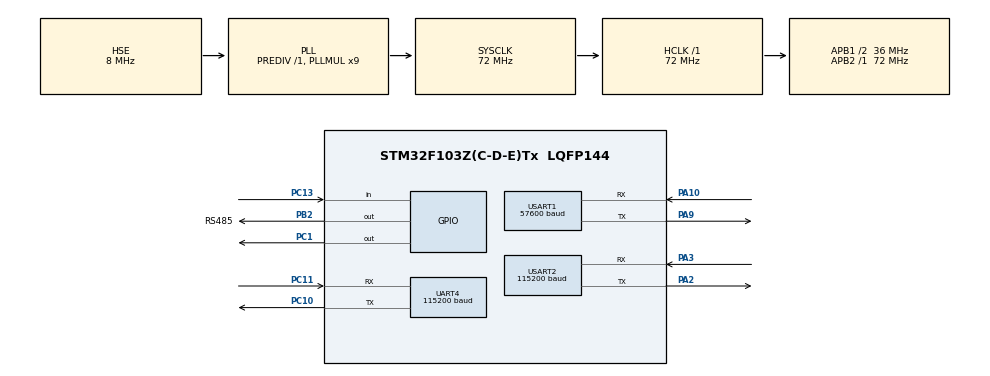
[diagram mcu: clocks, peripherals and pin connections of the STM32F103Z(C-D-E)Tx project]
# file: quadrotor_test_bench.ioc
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Dma.Request0=USART1_RX
Dma.Request1=USART1_TX
Dma.Request2=UART4_RX
Dma.Request3=UART4_TX
Dma.Request4=USART2_RX
Dma.Request5=USART2_TX
Dma.UART4_RX.2.Direction=DMA_PERIPH_TO_MEMORY
Dma.UART4_RX.2.Instance=DMA2_Channel3
Dma.UART4_RX.2.MemDataAlignment=DMA_MDATAALIGN_BYTE
Dma.UART4_RX.2.MemInc=DMA_MINC_ENABLE
Dma.UART4_RX.2.Mode=DMA_NORMAL
Dma.UART4_RX.2.PeriphDataAlignment=DMA_PDATAALIGN_BYTE
Dma.UART4_RX.2.PeriphInc=DMA_PINC_DISABLE
Dma.UART4_RX.2.Priority=DMA_PRIORITY_LOW
Dma.UART4_TX.3.Direction=DMA_MEMORY_TO_PERIPH
Dma.UART4_TX.3.Instance=DMA2_Channel5
Dma.UART4_TX.3.MemDataAlignment=DMA_MDATAALIGN_BYTE
Dma.UART4_TX.3.MemInc=DMA_MINC_ENABLE
Dma.UART4_TX.3.Mode=DMA_NORMAL
Dma.UART4_TX.3.PeriphDataAlignment=DMA_PDATAALIGN_BYTE
Dma.UART4_TX.3.PeriphInc=DMA_PINC_DISABLE
Dma.UART4_TX.3.Priority=DMA_PRIORITY_LOW
Dma.USART1_RX.0.Direction=DMA_PERIPH_TO_MEMORY
Dma.USART1_RX.0.Instance=DMA1_Channel5
Dma.USART1_RX.0.MemDataAlignment=DMA_MDATAALIGN_BYTE
Dma.USART1_RX.0.MemInc=DMA_MINC_ENABLE
Dma.USART1_RX.0.Mode=DMA_NORMAL
Dma.USART1_RX.0.PeriphDataAlignment=DMA_PDATAALIGN_BYTE
Dma.USART1_RX.0.PeriphInc=DMA_PINC_DISABLE
Dma.USART1_RX.0.Priority=DMA_PRIORITY_LOW
Dma.USART1_TX.1.Direction=DMA_MEMORY_TO_PERIPH
Dma.USART1_TX.1.Instance=DMA1_Channel4
Dma.USART1_TX.1.MemDataAlignment=DMA_MDATAALIGN_BYTE
Dma.USART1_TX.1.MemInc=DMA_MINC_ENABLE
Dma.USART1_TX.1.Mode=DMA_NORMAL
Dma.USART1_TX.1.PeriphDataAlignment=DMA_PDATAALIGN_BYTE
Dma.USART1_TX.1.PeriphInc=DMA_PINC_DISABLE
Dma.USART1_TX.1.Priority=DMA_PRIORITY_LOW
Dma.USART2_RX.4.Direction=DMA_PERIPH_TO_MEMORY
Dma.USART2_RX.4.Instance=DMA1_Channel6
Dma.USART2_RX.4.MemDataAlignment=DMA_MDATAALIGN_BYTE
Dma.USART2_RX.4.MemInc=DMA_MINC_ENABLE
Dma.USART2_RX.4.Mode=DMA_NORMAL
Dma.USART2_RX.4.PeriphDataAlignment=DMA_PDATAALIGN_BYTE
Dma.USART2_RX.4.PeriphInc=DMA_PINC_DISABLE
Dma.USART2_RX.4.Priority=DMA_PRIORITY_LOW
Dma.USART2_TX.5.Direction=DMA_MEMORY_TO_PERIPH
Dma.USART2_TX.5.Instance=DMA1_Channel7
Dma.USART2_TX.5.MemDataAlignment=DMA_MDATAALIGN_BYTE
Dma.USART2_TX.5.MemInc=DMA_MINC_ENABLE
Dma.USART2_TX.5.Mode=DMA_NORMAL
Dma.USART2_TX.5.PeriphDataAlignment=DMA_PDATAALIGN_BYTE
Dma.USART2_TX.5.PeriphInc=DMA_PINC_DISABLE
Dma.USART2_TX.5.Priority=DMA_PRIORITY_LOW
Mcu.Family=STM32F1
Mcu.Name=STM32F103Z(C-D-E)Tx
Mcu.Package=LQFP144
NVIC.DMA1_Channel4_IRQn=true\:0\:0\:false\:false\:true\:false\:true\:true
NVIC.DMA1_Channel5_IRQn=true\:0\:0\:false\:false\:true\:false\:true\:true
NVIC.DMA1_Channel6_IRQn=true\:0\:0\:false\:false\:true\:false\:true\:true
NVIC.DMA1_Channel7_IRQn=true\:0\:0\:false\:false\:true\:false\:true\:true
NVIC.DMA2_Channel3_IRQn=true\:0\:0\:false\:false\:true\:false\:true\:true
NVIC.DMA2_Channel4_5_IRQn=true\:0\:0\:false\:false\:true\:false\:true\:true
NVIC.PriorityGroup=NVIC_PRIORITYGROUP_4
NVIC.USART1_IRQn=true\:0\:0\:false\:false\:true\:true\:true\:true
NVIC.USART2_IRQn=true\:0\:0\:false\:false\:true\:true\:true\:true
OSC_IN.Mode=HSE-External-Oscillator
OSC_IN.Signal=RCC_OSC_IN
OSC_OUT.Mode=HSE-External-Oscillator
OSC_OUT.Signal=RCC_OSC_OUT
PA10.Mode=Asynchronous
PA10.Signal=USART1_RX
PA13.Mode=Serial_Wire
PA13.Signal=SYS_JTMS-SWDIO
PA14.Mode=Serial_Wire
PA14.Signal=SYS_JTCK-SWCLK
PA2.Mode=Asynchronous
PA2.Signal=USART2_TX
PA3.Mode=Asynchronous
PA3.Signal=USART2_RX
PA9.Mode=Asynchronous
PA9.Signal=USART1_TX
PB2.GPIO_Label=RS485
PB2.Signal=GPIO_Output
PC1.Signal=GPIO_Output
PC10.Mode=Asynchronous
PC10.Signal=UART4_TX
PC11.Mode=Asynchronous
PC11.Signal=UART4_RX
PC13-TAMPER-RTC.Signal=GPIO_Input
ProjectManager.HeapSize=0x200
ProjectManager.StackSize=0x400
ProjectManager.TargetToolchain=MDK-ARM V5.32
RCC.AHBFreq_Value=72000000
RCC.APB1CLKDivider=RCC_HCLK_DIV2
RCC.APB1Freq_Value=36000000
RCC.APB1TimFreq_Value=72000000
RCC.APB2Freq_Value=72000000
RCC.APB2TimFreq_Value=72000000
RCC.HCLKFreq_Value=72000000
RCC.PLLMUL=RCC_PLL_MUL9
RCC.PLLSourceVirtual=RCC_PLLSOURCE_HSE
RCC.SYSCLKFreq_VALUE=72000000
RCC.SYSCLKSource=RCC_SYSCLKSOURCE_PLLCLK
RCC.USBFreq_Value=72000000
UART4.BaudRate=115200
UART4.VirtualMode=Asynchronous
USART1.BaudRate=57600
USART1.VirtualMode=VM_ASYNC
USART2.BaudRate=115200
USART2.VirtualMode=VM_ASYNC
board=custom

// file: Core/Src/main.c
/* USER CODE BEGIN Header */
/**
  ******************************************************************************
  * @file           : main.c
  * @brief          : Main program body
  ******************************************************************************
  * @attention
  *
  * Copyright (c) 2025 STMicroelectronics.
  * All rights reserved.
  *
  * This software is licensed under terms that can be found in the LICENSE file
  * in the root directory of this software component.
  * If no LICENSE file comes with this software, it is provided AS-IS.
  *
  ******************************************************************************
  */
/* USER CODE END Header */
#include "main.h"
#include "dma.h"
#include "usart.h"
#include "gpio.h"

/* USER CODE BEGIN Includes */
#include <stdio.h>
#include "MotorState.h"
#include "FTSerialConfig.h"
#include "HMIProtocol.h" // 上位机顶层发送库
#include "HMISerial.h"	 // 上位机底层串口库
#include <string.h>
#include "motor_data_converter.h" // 上位机与舵机数据转换函数库
#include "HMICommandProtocol.h" // 上位机接收解析库
#include "MotorControl.h"    // 上位机控制指令转换库
#include "SMS_STS.h"     // 飞特舵机顶层库
#include "SCS.h"         // 提供 Ping() 舵机在线检测函数
#include "stm32f1xx_hal_uart.h"   // deinit串口函数

#include "EncoderSimple.h"
#include "ForceSensor.h"
/* USER CODE END Includes */

/* USER CODE BEGIN PTD */
typedef enum
{
    APP_MODE_NONE = 0,    // 尚未检测到设备
    APP_MODE_SERVO,       // 舵机模式
    APP_MODE_ENCODER,     // 编码器模式
    APP_MODE_FORCE        // 力传感器模式
} App_Mode_t;
/* USER CODE END PTD */

/* USER CODE BEGIN PD */
/* 等待舵机、编码器等外部设备完成上电 */
#define APP_POWER_ON_DELAY_MS      1000U

/* 每次自动检测最多尝试4轮 */
#define APP_DETECT_RETRY_COUNT     4U

/* 一轮检测失败后，等待500 ms再检测 */
#define APP_DETECT_INTERVAL_MS     500U

/* 编码器探测响应超时时间 */
#define ENCODER_PROBE_TIMEOUT_MS   30U

/* 力传感器读取周期 */
#define FORCE_POLL_PERIOD_MS       100U
/*
 * 原始值与实际显示值的比例。
 * 暂时设为1，之后根据仪表小数点修改。
 */
#define FORCE_DECIMAL_DIVISOR      1.0f

/* USER CODE END PD */

/* USER CODE BEGIN PV */

/*
 * 当前系统模式。
 * 可以放入Keil的Watch窗口观察。
 */
volatile App_Mode_t g_app_mode = APP_MODE_NONE;

/*
 * 在线设备掩码：
 * bit0对应ID 1
 * bit1对应ID 2
 * bit2对应ID 3
 * 上电检测得到的在线设备 *
 */
volatile uint8_t g_servo_online_mask = 0U;
volatile uint8_t g_encoder_online_mask = 0U;

/* 力传感器最近一次数据 */
volatile int32_t g_force_raw = 0;
volatile float g_force_value = 0.0f;
volatile uint8_t g_force_valid = 0;

volatile ForceSensor_Status_t g_force_status =
    FORCE_SENSOR_ERR_NOT_INIT;

/* 力传感器数据上传状态，可放入Watch窗口观察 */
volatile HMI_Status_typedef g_force_send_status =
    HMI_ERR_INIT;

volatile uint32_t g_force_task_count = 0U;

/* USER CODE END PV */

void SystemClock_Config(void);
/* USER CODE BEGIN PFP */

/* 检测1～3号舵机，返回在线设备掩码 */
static uint8_t App_DetectServoMask(void);

/* 检测1～3号编码器，返回在线设备掩码 */
static uint8_t App_DetectEncoderMask(void);

/* 检测力传感器是否在线 */
static uint8_t App_DetectForceSensor(void);

/* 按照“舵机→编码器→力传感器”的规则选择系统模式 */
static App_Mode_t App_DetectMode(void);

/* 只初始化上电时检测到的舵机 */
static void ServoMode_Init(void);

/* 力传感器模式周期任务 */
static void ForceSensor_Task(void);

/* 编码器模式运行循环 */
static void EncoderMode_Run(void);

/* 舵机模式运行循环 */
static void ServoMode_Run(void);

/* 力传感器模式运行循环 */
static void ForceMode_Run(void);

/* USER CODE END PFP */

/* USER CODE BEGIN 0 */

/**
 * @brief 检测ID为1～3的飞特舵机
 * @retval 在线设备掩码
 *         bit0：ID 1舵机
 *         bit1：ID 2舵机
 *         bit2：ID 3舵机
 */
static uint8_t App_DetectServoMask(void)
{
    uint8_t id;
    uint8_t online_mask = 0U;

    for (id = 1U; id <= MAX_SERVOS; id++)
    {
        /*
         * Ping成功时返回对应的舵机ID；
         * 失败时返回-1。
         */
        if (Ping(id) == (int)id)
        {
            online_mask |= (uint8_t)(1U << (id - 1U));
        }
    }

    return online_mask;
}

/**
 * @brief 检测ID为1～3的RS485编码器
 * @retval 在线设备掩码
 *         bit0：ID 1编码器
 *         bit1：ID 2编码器
 *         bit2：ID 3编码器
 */
static uint8_t App_DetectEncoderMask(void)
{
    uint8_t id;
    uint8_t online_mask = 0U;

    for (id = 1U; id <= ENCODER_COUNT; id++)
    {
        /*
         * Encoder_Probe()会发送查询帧，
         * 并在规定时间内等待合法响应。
         */
        if (Encoder_Probe(id, ENCODER_PROBE_TIMEOUT_MS) != 0U)
        {
            online_mask |= (uint8_t)(1U << (id - 1U));
        }
    }

    return online_mask;
}

/**
 * @brief 检测RS485力传感器是否在线
 * @retval 1：收到合法力传感器响应
 * @retval 0：未收到合法响应
 */
static uint8_t App_DetectForceSensor(void)
{
    int32_t raw_value = 0;

    g_force_status = ForceSensor_ReadRaw(&raw_value);

    if (g_force_status == FORCE_SENSOR_OK)
    {
        g_force_raw = raw_value;
        g_force_value =
            (float)raw_value / FORCE_DECIMAL_DIVISOR;
        g_force_valid = 1U;
        return 1U;
    }

    g_force_valid = 0U;
    return 0U;
}

/**
 * @brief 上电检测系统模式
 * @note  每轮依次检测舵机、编码器、力传感器。
 *        若同时连接多类设备，优先级为：舵机 > 编码器 > 力传感器。
 * @retval APP_MODE_SERVO   检测到至少一个舵机
 * @retval APP_MODE_ENCODER 没有舵机，但检测到至少一个编码器
 * @retval APP_MODE_FORCE   没有舵机和编码器，但检测到力传感器
 * @retval APP_MODE_NONE    多轮检测后仍未发现设备
 */
static App_Mode_t App_DetectMode(void)
{
    uint8_t attempt;

    g_servo_online_mask = 0U;
    g_encoder_online_mask = 0U;

    for (attempt = 0U;
         attempt < APP_DETECT_RETRY_COUNT;
         attempt++)
    {
        /*
         * 检测ID 1、2、3舵机。
         * 掩码不等于0，表示至少一台舵机在线。
         */
        g_servo_online_mask =
            App_DetectServoMask();

        if (g_servo_online_mask != 0U)
        {
            return APP_MODE_SERVO;
        }

        /*
         * 没检测到舵机时，
         * 再检测ID 1、2、3编码器。
         * 掩码不等于0，表示至少一台编码器在线。
         */
        g_encoder_online_mask =
            App_DetectEncoderMask();

        if (g_encoder_online_mask != 0U)
        {
            return APP_MODE_ENCODER;
        }

        /*
         * 没检测到舵机和编码器时，
         * 再检测力传感器。
         */
        if (App_DetectForceSensor() != 0U)
        {
            return APP_MODE_FORCE;
        }

        /*
         * 三类设备都没有检测到，
         * 延时后重新检测。
         */
        if ((attempt + 1U) <
            APP_DETECT_RETRY_COUNT)
        {
            HAL_Delay(APP_DETECT_INTERVAL_MS);
        }
    }

    return APP_MODE_NONE;
}

/**
 * @brief 力传感器周期读取任务
 * @note  未到100 ms周期时立即返回。
 */
static void ForceSensor_Task(void)
{
	g_force_task_count++;

    static uint32_t last_poll_tick = 0U;
    uint32_t now;
    int32_t raw_value;

    now = HAL_GetTick();

    if ((last_poll_tick != 0U) &&
        ((uint32_t)(now - last_poll_tick) <
         FORCE_POLL_PERIOD_MS))
    {
        return;
    }

    last_poll_tick = now;

    g_force_status = ForceSensor_ReadRaw(&raw_value);
	//raw_value = 1;

	if (g_force_status == FORCE_SENSOR_OK)
	{
		/* 保存最近一次读取成功的数据 */
		g_force_raw = raw_value;

		/* 转换为实际显示值，仅供程序内部观察 */
		g_force_value =
			(float)raw_value / FORCE_DECIMAL_DIVISOR;

		g_force_valid = 1U;

		/*
		 * 将原始32位力值上传给上位机。
		 * 实际发送格式：
		 * 7A F0 D0 D1 D2 D3 7B
		 */
		g_force_send_status =
			HMI_SendForceData(g_force_raw);
		}
	else
		{
		/*
		 * 读取失败时保留上一次正确数值，
		 * 只清除有效标志，不上传错误数据。
		 */
		g_force_valid = 0U;
		}
}

/**
 * @brief 初始化舵机模式
 * @note  进入舵机模式后，固定配置ID 1、2、3。
 */
static void ServoMode_Init(void)
{
    uint8_t index;

    /* 清空舵机状态和上位机数据包 */
    memset(motorstate, 0, sizeof(motorstate));
    memset(&HMImotorpacket, 0, sizeof(HMImotorpacket));

    /* 默认使用位置控制模式 */
    HMImotorpacket.modeMotors =
        HMI_MOTORMODE_ALL_JOINT;

    /*
     * servo_id_map[] = {1, 2, 3}
     * 固定初始化三台舵机。
     */
    for (index = 0U;
         index < MAX_SERVOS;
         index++)
    {
        JointMode(servo_id_map[index]);

        SetMaxAngleLimit(
            servo_id_map[index]);

        /* 读取一次初始状态 */
        (void)MotorFeedBack(
            servo_id_map[index],
            index);
    }
}

/**
 * @brief 编码器模式运行循环
 * @note  只轮询上电时检测到的编码器。
 */
static void EncoderMode_Run(void)
{
    while (1)
    {
        if (Encoder_PollNext() == ENCODER_OK)
        {
            HMIencoderpacket.encoder1_position =
                Encoder_Position[0];

            HMIencoderpacket.encoder2_position =
                Encoder_Position[1];

            HMIencoderpacket.encoder3_position =
                Encoder_Position[2];

            HMI_SendEncoderData(&HMIencoderpacket, 1U);
        }

        HAL_Delay(10U);
    }
}

/**
 * @brief 检查是否进入舵机外部调试模式
 *
 * PC13按下后：
 * 1. 关闭STM32使用的舵机串口UART4；
 * 2. 释放PC10、PC11；
 * 3. 停止主程序，避免STM32继续访问舵机；
 * 4. 外部调试数据线可以接管舵机总线。
 */
static void ExternalServoDebug_Check(void)
{
    if (HAL_GPIO_ReadPin(GPIOC, GPIO_PIN_13) == GPIO_PIN_RESET)
    {
        HAL_Delay(50U);

        if (HAL_GPIO_ReadPin(GPIOC, GPIO_PIN_13) == GPIO_PIN_RESET)
        {
            /*
             * 当前工程中：
             * UART4用于SM80BL舵机，波特率115200。
             */
            HAL_UART_DeInit(&huart4);

            /*
             * 停止程序，防止STM32继续发送舵机指令。
             * 不建议使用Error_Handler()，因为这不是程序错误，
             * 而是主动进入外部调试模式。
             */
            while (1)
            {
                HAL_Delay(100U);
            }
        }
    }
}

/**
 * @brief 舵机模式运行循环
 */
static void ServoMode_Run(void)
{
    uint8_t index;

    while (1)
    {

		/*
         * 每次循环先检查外部调试按键。
         * 按下PC13后，停止STM32访问舵机。
         */
        ExternalServoDebug_Check();

		/* 固定读取ID 1、2、3三台舵机状态 */
		for (index = 0U;
			 index < MAX_SERVOS;
			 index++)
		{
			(void)MotorFeedBack(
				servo_id_map[index],
				index);
		}

        ConvertAllMotorsToHMI(motorstate,
                              &HMImotorpacket,
                              HMImotorpacket.modeMotors);

        HMI_SendMotorData(&HMImotorpacket, 1U);

        /* 检查上位机控制指令 */
		if (HMI_Serial_GetRxFlag() != 0U)
		{
			uint8_t *rx_buf = HMI_Serial_GetRxBuffer();
			uint16_t rx_len = HMI_Serial_GetRxLength();

			/*
			 * 只有完整的32字节数据包才解析。
			 * 半包、干扰数据直接丢弃，不能进入Error_Handler。
			 */
			if (rx_len == HMI_COMMAND_PACKET_SIZE)
			{
				uint8_t packet_type =
					HMI_Command_Parse(rx_buf, rx_len);

				if (packet_type != PKT_TYPE_UNKNOWN)
				{
					Motor_Control(packet_type);
				}
			}

			/* 无论数据正确与否，都重新启动接收 */
			HMI_Serial_RestartReceive();
		}
    }
}

/**
 * @brief 力传感器模式运行循环
 */
static void ForceMode_Run(void)
{
    while (1)
    {
        ForceSensor_Task();
        HAL_Delay(10U);
    }
}

/* USER CODE END 0 */

int main(void)
{

  /* MCU Configuration--------------------------------------------------------*/

  /* Reset of all peripherals, Initializes the Flash interface and the Systick. */
  HAL_Init();

  /* Configure the system clock */
  SystemClock_Config();

  /* Initialize all configured peripherals */
  MX_GPIO_Init();
  MX_DMA_Init();
  MX_USART1_UART_Init();
  MX_UART4_Init();
  MX_USART2_UART_Init();
  /* USER CODE BEGIN 2 */

	ftUart_Init(&huart4);  // SM80BL舵机使用串口4 波特率115200

	/* USART1：上位机通信,上位机使用串口1 波特率57600 */
	if (HMI_Init(&huart1) != HMI_OK)
	{
		Error_Handler();
	}

	/*
	 * USART2：编码器和力传感器共用同一条RS485总线。
	 * 编码器使用115200，力传感器使用19200；二者作为独立模式运行。
	 * 驱动仍会在每笔事务前自动切换到目标波特率。
	 */
	Encoder_Init(&huart2);
	ForceSensor_Init(&huart2);

    /* 等待外部设备完成上电 */
    HAL_Delay(APP_POWER_ON_DELAY_MS);

	 /*
	 * 如果没有检测到设备，就继续检测；
	 * 检测成功后，模式保持到下次复位。
	 */
    do
    {
        g_app_mode = App_DetectMode();
    }
    while (g_app_mode == APP_MODE_NONE);

	 /* 只有舵机模式才执行舵机初始化指令 */
    if (g_app_mode == APP_MODE_SERVO)
    {
        ServoMode_Init();
    }

	else if (g_app_mode == APP_MODE_ENCODER)
	{
		/*
		 * 运行阶段只查询上电时检测到的编码器，
		 * 不再等待没有连接的ID。
		 */
		Encoder_SetActiveMask(ENCODER_ALL_MASK);
	}
	else if (g_app_mode == APP_MODE_FORCE)
	{
		/* 力传感器模式无需额外初始化。 */
	}

  /* USER CODE END 2 */

  /* Infinite loop */
  /* USER CODE BEGIN WHILE */
	while (1)
	{
		if (g_app_mode == APP_MODE_SERVO)
		{
			ServoMode_Run();
		}
		else if (g_app_mode == APP_MODE_ENCODER)
		{
			EncoderMode_Run();
		}
		else if (g_app_mode == APP_MODE_FORCE)
		{
			ForceMode_Run();
		}
		else
		{
        /* 异常保护：重新检测设备 */
			g_app_mode = App_DetectMode();
		}

    /* USER CODE END WHILE */

  }
}

void SystemClock_Config(void)
{
  RCC_OscInitTypeDef RCC_OscInitStruct = {0};
  RCC_ClkInitTypeDef RCC_ClkInitStruct = {0};

  /** Initializes the RCC Oscillators according to the specified parameters
  * in the RCC_OscInitTypeDef structure.
  */
  RCC_OscInitStruct.OscillatorType = RCC_OSCILLATORTYPE_HSE;
  RCC_OscInitStruct.HSEState = RCC_HSE_ON;
  RCC_OscInitStruct.HSEPredivValue = RCC_HSE_PREDIV_DIV1;
  RCC_OscInitStruct.HSIState = RCC_HSI_ON;
  RCC_OscInitStruct.PLL.PLLState = RCC_PLL_ON;
  RCC_OscInitStruct.PLL.PLLSource = RCC_PLLSOURCE_HSE;
  RCC_OscInitStruct.PLL.PLLMUL = RCC_PLL_MUL9;
  if (HAL_RCC_OscConfig(&RCC_OscInitStruct) != HAL_OK)
  {
    Error_Handler();
  }

  /** Initializes the CPU, AHB and APB buses clocks
  */
  RCC_ClkInitStruct.ClockType = RCC_CLOCKTYPE_HCLK|RCC_CLOCKTYPE_SYSCLK
                              |RCC_CLOCKTYPE_PCLK1|RCC_CLOCKTYPE_PCLK2;
  RCC_ClkInitStruct.SYSCLKSource = RCC_SYSCLKSOURCE_PLLCLK;
  RCC_ClkInitStruct.AHBCLKDivider = RCC_SYSCLK_DIV1;
  RCC_ClkInitStruct.APB1CLKDivider = RCC_HCLK_DIV2;
  RCC_ClkInitStruct.APB2CLKDivider = RCC_HCLK_DIV1;

  if (HAL_RCC_ClockConfig(&RCC_ClkInitStruct, FLASH_LATENCY_2) != HAL_OK)
  {
    Error_Handler();
  }
}

/* USER CODE BEGIN 4 */
/**
 * @brief 空闲中断 + DMA接收满 回调
 * @note HAL_UARTEx_ReceiveToIdle_DMA 会在两种情况触发此回调:
 *       1. UART空闲中断
 *       2. DMA接收完成中断(缓冲区满)
 */
void HAL_UARTEx_RxEventCallback(UART_HandleTypeDef *huart, uint16_t Size)
{
    HMI_Serial_RxEventCallback(huart, Size);
}

/**
 * @brief DMA接收完成中断回调(备用)
 * @note 某些HAL版本可能需要同时实现此回调
 */
void HAL_UART_RxCpltCallback(UART_HandleTypeDef *huart)
{
    if (huart->Instance == USART1) {  // 根据使用的串口修改
        // 获取接收长度(缓冲区大小)
        HMI_Serial_RxEventCallback(huart, 32);
    }

}
/* USER CODE END 4 */

void Error_Handler(void)
{
  __disable_irq();
  while (1)
  {
  }
}
